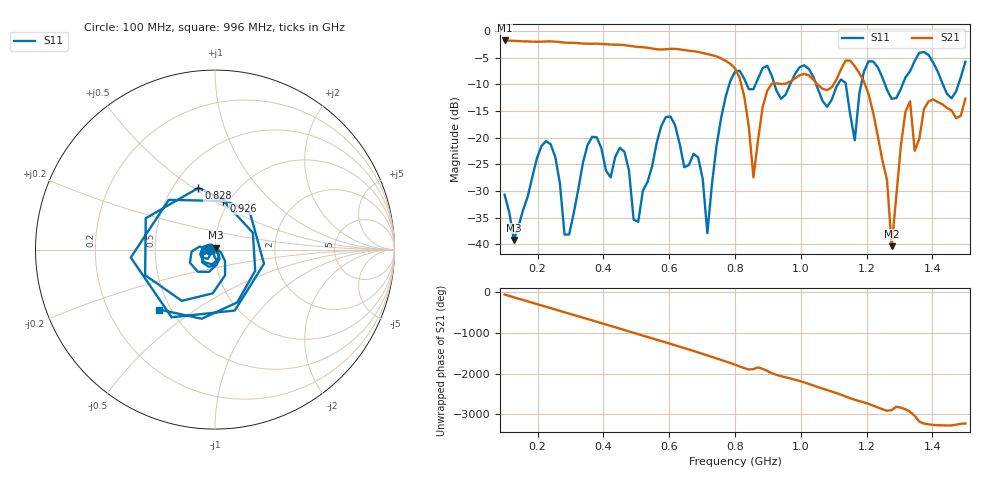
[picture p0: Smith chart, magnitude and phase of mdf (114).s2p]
! NanoVNA-App
! Date: 2025-09-25 17:41:51
! Start: 100MHz Stop: 1,5GHz Points: 101
! S-Parameter data: F S11 S21 S12 S22
# Hz S RI R 50
!  Frequency  S11_Real  S11_Imag  S21_Real  S21_Imag  S12_Real  S12_Imag  S22_Real  S22_Imag
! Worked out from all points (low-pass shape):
!   101 points, 100 MHz to 1.5 GHz, reference 50 ohm
!   highest |S21| = -1.80 dB at 100 MHz (marker M1); lowest = -40.3 dB at 1.276 GHz (marker M2)
!   |S21| within 3 dB of the highest: start of sweep to 744.1 MHz
!   lowest |S11| = -39.2 dB at 128 MHz (marker M3), VSWR 1.02, Z = 50.3 + j1.06 ohm
!   |S11| at or under -10 dB: start of sweep to 782.9 MHz; 1.046 GHz to 1.113 GHz (66.53 MHz wide, 6.16 % of centre); 1.256 GHz to 1.31 GHz (54.06 MHz wide, 4.21 % of centre) (the widest 3 of 7)
!   S12 and S22 are empty: the file has one direction only
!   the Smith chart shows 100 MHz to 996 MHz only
!   S11 on the Smith chart (normalised r, x): 100 MHz: 0.94, -0.01; 828 MHz: 0.67, +0.52; 926 MHz: 0.94, +0.55; 996 MHz: 0.43, -0.37
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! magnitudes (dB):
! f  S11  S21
! 100 MHz  -30.7  -1.8
! 128 MHz  -39.2  -1.9
! 212 MHz  -21.6  -2.0
! 282 MHz  -38.2  -2.2
! 338 MHz  -24.7  -2.4
! 464 MHz  -22.6  -2.7
! 506 MHz  -35.8  -3.0
! 576 MHz  -17.8  -3.5
! 688 MHz  -23.7  -3.9
! 716 MHz  -37.9  -4.3
! 800 MHz  -7.6  -7.0
! 828 MHz  -9.0  -12.2
! 856 MHz  -10.9  -27.4
! 926 MHz  -11.2  -9.8
! 996 MHz  -6.8  -8.3
! 1.038 GHz  -8.6  -9.1
! 1.164 GHz  -20.5  -6.6
! 1.192 GHz  -7.6  -9.5
! 1.276 GHz  -12.7  -40.3
! 1.332 GHz  -7.6  -13.2
! 1.346 GHz  -5.6  -22.5
! 1.5 GHz  -5.8  -12.7
